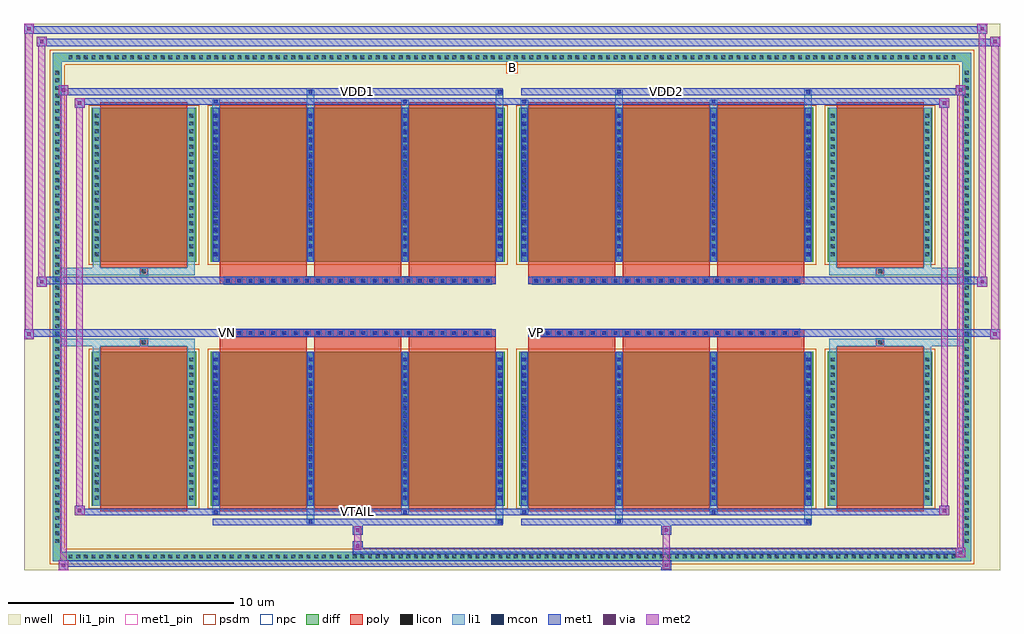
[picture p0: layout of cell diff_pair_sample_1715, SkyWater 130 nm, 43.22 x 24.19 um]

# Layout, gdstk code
import gdstk
lib = gdstk.Library(unit=1e-6, precision=5e-09)
def R(c, l, rs):  # rectangles x0, y0, x1, y1
    for r in rs: c.add(gdstk.rectangle(r[:2], r[2:], *l))
def A(c, l, x, y, w, h, nx, ny, dx, dy):  # array of equal rectangles
    R(c, l, [(x+i*dx, y+j*dy, x+i*dx+w, y+j*dy+h) for i in range(nx) for j in range(ny)])
def P(c, l, *ps):  # polygons
    for p in ps: c.add(gdstk.Polygon(p, *l))
nwell = (64, 20)
diff = (65, 20)
poly = (66, 20)
licon = (66, 44)
li1_pin = (67, 16)
li1 = (67, 20)
mcon = (67, 44)
met1_pin = (68, 16)
met1 = (68, 20)
via = (68, 44)
met2 = (69, 20)
psdm = (94, 20)
npc = (95, 20)

diff_pair_sample_1715 = lib.new_cell('diff_pair_sample_1715')
R(diff_pair_sample_1715, nwell, [(-21.61,-11.66,21.61,12.53), (-18.93,-9.85,-0.01,-0.795), (0.01,-9.85,18.93,-0.795), (-18.93,0.795,-0.01,9.85), (0.01,0.795,18.93,9.85)])
A(diff_pair_sample_1715, diff, -19.755, -11.26, 0.41, 0.41, 116, 2, 0.34, 22.11)
A(diff_pair_sample_1715, diff, -20.34, -10.575, 0.41, 0.41, 1, 62, 0, 0.34)
A(diff_pair_sample_1715, diff, 19.93, -10.575, 0.41, 0.41, 1, 62, 0, 0.34)
R(diff_pair_sample_1715, diff, [(-19.755,-11.26,19.755,-10.85), (-20.34,-10.575,-19.93,10.575), (19.93,-10.575,20.34,10.575), (-18.62,-8.805,-13.98,-1.985), (-13.34,-8.805,-0.32,-1.985), (0.32,-8.805,13.34,-1.985), (13.98,-8.805,18.62,-1.985), (-18.62,1.985,-13.98,8.805), (-13.34,1.985,-0.32,8.805), (0.32,1.985,13.34,8.805), (13.98,1.985,18.62,8.805), (-19.755,10.85,19.755,11.26)])
P(diff_pair_sample_1715, diff, [(20.34,11.26),(-20.34,11.26),(-20.34,-10.85),(-19.93,-10.85),(-19.93,10.85),(19.93,10.85),(19.93,-10.85),(-19.93,-10.85),(-20.34,-10.85),(-20.34,-11.26),(20.34,-11.26)])
A(diff_pair_sample_1715, poly, -12.95, -9.055, 3.86, 7.32, 3, 2, 4.19, 10.79)
A(diff_pair_sample_1715, poly, 0.71, -9.055, 3.86, 7.32, 3, 2, 4.19, 10.79)
A(diff_pair_sample_1715, poly, -12.95, -1.735, 3.86, 0.41, 3, 2, 4.19, 3.06)
A(diff_pair_sample_1715, poly, 0.71, -1.735, 3.86, 0.41, 3, 2, 4.19, 3.06)
A(diff_pair_sample_1715, poly, -12.745, -1.325, 0.33, 0.33, 24, 2, 0.5, 2.32)
A(diff_pair_sample_1715, poly, 0.915, -1.325, 0.33, 0.33, 24, 2, 0.5, 2.32)
R(diff_pair_sample_1715, poly, [(-18.23,-9.055,-14.37,-1.735), (14.37,-9.055,18.23,-1.735), (-16.465,-1.735,-16.135,-1.405), (-16.465,-1.735,-16.135,-1.405), (16.135,-1.735,16.465,-1.405), (16.135,-1.735,16.465,-1.405), (-12.95,-1.325,-0.71,-0.995), (0.71,-1.325,12.95,-0.995), (-12.95,0.995,-0.71,1.325), (0.71,0.995,12.95,1.325), (-16.465,1.405,-16.135,1.735), (-16.465,1.405,-16.135,1.735), (16.135,1.405,16.465,1.735), (16.135,1.405,16.465,1.735), (-18.23,1.735,-14.37,9.055), (14.37,1.735,18.23,9.055)])
A(diff_pair_sample_1715, licon, -19.635, -11.14, 0.17, 0.17, 116, 2, 0.34, 22.11)
A(diff_pair_sample_1715, licon, -20.22, -10.455, 0.17, 0.17, 1, 62, 0, 0.34)
A(diff_pair_sample_1715, licon, 20.05, -10.455, 0.17, 0.17, 1, 62, 0, 0.34)
A(diff_pair_sample_1715, licon, -18.48, -8.54, 0.17, 0.17, 1, 19, 0, 0.34)
A(diff_pair_sample_1715, licon, -14.29, -8.54, 0.17, 0.17, 1, 19, 0, 0.34)
A(diff_pair_sample_1715, licon, -13.2, -8.54, 0.17, 0.17, 4, 19, 4.19, 0.34)
A(diff_pair_sample_1715, licon, 0.46, -8.54, 0.17, 0.17, 4, 19, 4.19, 0.34)
A(diff_pair_sample_1715, licon, 14.12, -8.54, 0.17, 0.17, 1, 19, 0, 0.34)
A(diff_pair_sample_1715, licon, 18.31, -8.54, 0.17, 0.17, 1, 19, 0, 0.34)
A(diff_pair_sample_1715, licon, -12.665, -1.245, 0.17, 0.17, 24, 2, 0.5, 2.32)
A(diff_pair_sample_1715, licon, 0.995, -1.245, 0.17, 0.17, 24, 2, 0.5, 2.32)
A(diff_pair_sample_1715, licon, -18.48, 2.25, 0.17, 0.17, 1, 19, 0, 0.34)
A(diff_pair_sample_1715, licon, -14.29, 2.25, 0.17, 0.17, 1, 19, 0, 0.34)
A(diff_pair_sample_1715, licon, -13.2, 2.25, 0.17, 0.17, 4, 19, 4.19, 0.34)
A(diff_pair_sample_1715, licon, 0.46, 2.25, 0.17, 0.17, 4, 19, 4.19, 0.34)
A(diff_pair_sample_1715, licon, 14.12, 2.25, 0.17, 0.17, 1, 19, 0, 0.34)
A(diff_pair_sample_1715, licon, 18.31, 2.25, 0.17, 0.17, 1, 19, 0, 0.34)
R(diff_pair_sample_1715, licon, [(-16.385,-1.655,-16.215,-1.485), (16.215,-1.655,16.385,-1.485), (-16.385,1.485,-16.215,1.655), (16.215,1.485,16.385,1.655)])
R(diff_pair_sample_1715, li1_pin, [(-0.25,10.35,0.25,10.85)])
A(diff_pair_sample_1715, li1, -19.715, -11.22, 0.33, 0.33, 116, 2, 0.34, 22.11)
A(diff_pair_sample_1715, li1, -20.3, -10.535, 0.33, 0.33, 1, 62, 0, 0.34)
A(diff_pair_sample_1715, li1, 19.97, -10.535, 0.33, 0.33, 1, 62, 0, 0.34)
A(diff_pair_sample_1715, li1, -13.28, -8.805, 0.33, 6.82, 4, 2, 4.19, 10.79)
A(diff_pair_sample_1715, li1, 0.38, -8.805, 0.33, 6.82, 4, 2, 4.19, 10.79)
A(diff_pair_sample_1715, li1, -18.56, -8.62, 0.33, 0.33, 1, 19, 0, 0.34)
A(diff_pair_sample_1715, li1, -14.37, -8.62, 0.33, 0.33, 1, 19, 0, 0.34)
A(diff_pair_sample_1715, li1, -13.28, -8.62, 0.33, 0.33, 4, 19, 4.19, 0.34)
A(diff_pair_sample_1715, li1, 0.38, -8.62, 0.33, 0.33, 4, 19, 4.19, 0.34)
A(diff_pair_sample_1715, li1, 14.04, -8.62, 0.33, 0.33, 1, 19, 0, 0.34)
A(diff_pair_sample_1715, li1, 18.23, -8.62, 0.33, 0.33, 1, 19, 0, 0.34)
A(diff_pair_sample_1715, li1, -13.2, -8.54, 0.17, 0.17, 4, 18, 4.19, 0.36)
A(diff_pair_sample_1715, li1, -13.2, -8.54, 0.17, 6.29, 4, 2, 4.19, 10.79)
A(diff_pair_sample_1715, li1, 0.46, -8.54, 0.17, 0.17, 4, 18, 4.19, 0.36)
A(diff_pair_sample_1715, li1, 0.46, -8.54, 0.17, 6.29, 4, 2, 4.19, 10.79)
A(diff_pair_sample_1715, li1, -12.745, -1.325, 0.33, 0.33, 24, 2, 0.5, 2.32)
A(diff_pair_sample_1715, li1, 0.915, -1.325, 0.33, 0.33, 24, 2, 0.5, 2.32)
A(diff_pair_sample_1715, li1, -18.56, 2.17, 0.33, 0.33, 1, 19, 0, 0.34)
A(diff_pair_sample_1715, li1, -14.37, 2.17, 0.33, 0.33, 1, 19, 0, 0.34)
A(diff_pair_sample_1715, li1, -13.28, 2.17, 0.33, 0.33, 4, 19, 4.19, 0.34)
A(diff_pair_sample_1715, li1, 0.38, 2.17, 0.33, 0.33, 4, 19, 4.19, 0.34)
A(diff_pair_sample_1715, li1, 14.04, 2.17, 0.33, 0.33, 1, 19, 0, 0.34)
A(diff_pair_sample_1715, li1, 18.23, 2.17, 0.33, 0.33, 1, 19, 0, 0.34)
A(diff_pair_sample_1715, li1, -13.2, 2.25, 0.17, 0.17, 4, 18, 4.19, 0.36)
A(diff_pair_sample_1715, li1, 0.46, 2.25, 0.17, 0.17, 4, 18, 4.19, 0.36)
R(diff_pair_sample_1715, li1, [(-20.34,-11.26,-19.93,-10.85), (-20.34,-11.26,-19.93,-10.85), (-19.93,-11.26,19.93,-10.85), (19.93,-11.26,20.34,-10.85), (19.93,-11.26,20.34,-10.85), (-20.34,-10.85,-19.93,10.85), (19.93,-10.85,20.34,10.85), (-9.09,-9.61,-8.76,-8.805), (-9.01,-9.61,-8.84,-9.44), (-0.71,-9.61,-0.38,-8.805), (-0.63,-9.61,-0.46,-9.44), (4.57,-9.61,4.9,-8.805), (4.65,-9.61,4.82,-9.44), (12.95,-9.61,13.28,-8.805), (13.03,-9.61,13.2,-9.44), (-13.28,-9.18,-12.95,-8.805), (-13.2,-9.18,-13.03,-9.01), (-4.9,-9.18,-4.57,-8.805), (-4.82,-9.18,-4.65,-9.01), (0.38,-9.18,0.71,-8.805), (0.46,-9.18,0.63,-9.01), (8.76,-9.18,9.09,-8.805), (8.84,-9.18,9.01,-9.01), (-18.56,-8.805,-18.23,-1.985), (-14.37,-8.805,-14.04,-1.985), (14.04,-8.805,14.37,-1.985), (18.23,-8.805,18.56,-1.985), (-18.56,-1.985,-18.23,-1.405), (-14.37,-1.985,-14.04,-1.405), (14.04,-1.985,14.37,-1.405), (18.23,-1.985,18.56,-1.405), (-20.34,-1.735,-16.465,-1.405), (-18.56,-1.735,-16.465,-1.405), (-16.465,-1.735,-16.135,-1.405), (-16.135,-1.735,-14.04,-1.405), (14.04,-1.735,16.135,-1.405), (16.135,-1.735,16.465,-1.405), (16.135,-1.735,20.34,-1.405), (16.465,-1.735,18.56,-1.405), (-20.34,1.405,-16.465,1.735), (-18.56,1.405,-16.465,1.735), (-18.56,1.405,-18.23,1.985), (-16.465,1.405,-16.135,1.735), (-16.135,1.405,-14.04,1.735), (-14.37,1.405,-14.04,1.985), (14.04,1.405,16.135,1.735), (14.04,1.405,14.37,1.985), (16.135,1.405,16.465,1.735), (16.135,1.405,20.34,1.735), (16.465,1.405,18.56,1.735), (18.23,1.405,18.56,1.985), (-18.56,1.985,-18.23,8.805), (-14.37,1.985,-14.04,8.805), (14.04,1.985,14.37,8.805), (18.23,1.985,18.56,8.805), (-13.28,8.805,-12.95,9.18), (-9.09,8.805,-8.76,9.61), (-4.9,8.805,-4.57,9.18), (-0.71,8.805,-0.38,9.61), (0.38,8.805,0.71,9.18), (4.57,8.805,4.9,9.61), (8.76,8.805,9.09,9.18), (12.95,8.805,13.28,9.61), (-13.2,9.01,-13.03,9.18), (-4.82,9.01,-4.65,9.18), (0.46,9.01,0.63,9.18), (8.84,9.01,9.01,9.18), (-9.01,9.44,-8.84,9.61), (-0.63,9.44,-0.46,9.61), (4.65,9.44,4.82,9.61), (13.03,9.44,13.2,9.61), (-20.34,10.85,-19.93,11.26), (-20.34,10.85,-19.93,11.26), (-19.93,10.85,19.93,11.26), (19.93,10.85,20.34,11.26), (19.93,10.85,20.34,11.26)])
A(diff_pair_sample_1715, mcon, -13.2, -8.54, 0.17, 0.17, 4, 18, 4.19, 0.36)
A(diff_pair_sample_1715, mcon, 0.46, -8.54, 0.17, 0.17, 4, 18, 4.19, 0.36)
A(diff_pair_sample_1715, mcon, -12.665, -1.245, 0.17, 0.17, 24, 2, 0.5, 2.32)
A(diff_pair_sample_1715, mcon, 0.995, -1.245, 0.17, 0.17, 24, 2, 0.5, 2.32)
A(diff_pair_sample_1715, mcon, -13.2, 2.25, 0.17, 0.17, 4, 18, 4.19, 0.36)
A(diff_pair_sample_1715, mcon, 0.46, 2.25, 0.17, 0.17, 4, 18, 4.19, 0.36)
R(diff_pair_sample_1715, mcon, [(-9.01,-9.61,-8.84,-9.44), (-0.63,-9.61,-0.46,-9.44), (4.65,-9.61,4.82,-9.44), (13.03,-9.61,13.2,-9.44), (-13.2,-9.18,-13.03,-9.01), (-4.82,-9.18,-4.65,-9.01), (0.46,-9.18,0.63,-9.01), (8.84,-9.18,9.01,-9.01), (-13.2,9.01,-13.03,9.18), (-4.82,9.01,-4.65,9.18), (0.46,9.01,0.63,9.18), (8.84,9.01,9.01,9.18), (-9.01,9.44,-8.84,9.61), (-0.63,9.44,-0.46,9.61), (4.65,9.44,4.82,9.61), (13.03,9.44,13.2,9.61)])
R(diff_pair_sample_1715, met1_pin, [(-6.965,-9.22,-6.695,-8.95), (-12.715,-1.285,-12.445,-1.015), (0.945,-1.285,1.215,-1.015), (-6.965,9.4,-6.695,9.67), (6.695,9.4,6.965,9.67)])
A(diff_pair_sample_1715, met1, -13.26, -8.805, 0.29, 6.82, 4, 2, 4.19, 10.79)
A(diff_pair_sample_1715, met1, 0.4, -8.805, 0.29, 6.82, 4, 2, 4.19, 10.79)
A(diff_pair_sample_1715, met1, -13.26, -8.6, 0.29, 0.29, 4, 18, 4.19, 0.36)
A(diff_pair_sample_1715, met1, 0.4, -8.6, 0.29, 0.29, 4, 18, 4.19, 0.36)
A(diff_pair_sample_1715, met1, -12.725, -1.305, 0.29, 0.29, 24, 2, 0.5, 2.32)
A(diff_pair_sample_1715, met1, 0.935, -1.305, 0.29, 0.29, 24, 2, 0.5, 2.32)
A(diff_pair_sample_1715, met1, -13.26, 2.19, 0.29, 0.29, 4, 18, 4.19, 0.36)
A(diff_pair_sample_1715, met1, 0.4, 2.19, 0.29, 0.29, 4, 18, 4.19, 0.36)
R(diff_pair_sample_1715, met1, [(-20.07,-11.66,-19.64,-11.23), (6.615,-11.66,7.045,-11.23), (-20.07,-11.52,7.045,-11.23), (19.64,-11.09,20.07,-10.66), (-7.045,-10.95,20.07,-10.66), (-7.045,-10.81,-6.615,-10.38), (-7.045,-10.1,-6.615,-9.67), (6.615,-10.1,7.045,-9.67), (-13.26,-9.67,-0.4,-9.38), (-9.07,-9.67,-8.78,-9.38), (-0.69,-9.67,-0.4,-9.38), (0.4,-9.67,13.26,-9.38), (4.59,-9.67,4.88,-9.38), (12.97,-9.67,13.26,-9.38), (-19.36,-9.24,-18.93,-8.81), (-19.36,-9.24,-13.26,-8.95), (-13.26,-9.24,-12.97,-8.95), (-13.26,-9.24,-0.4,-8.95), (-4.88,-9.24,-4.59,-8.95), (-0.4,-9.24,0.4,-8.95), (0.4,-9.24,0.69,-8.95), (0.4,-9.24,13.26,-8.95), (8.78,-9.24,9.07,-8.95), (13.26,-9.24,19.36,-8.95), (18.93,-9.24,19.36,-8.81), (-21.61,-1.425,-21.18,-0.995), (21.18,-1.425,21.61,-0.995), (-21.61,-1.325,-0.71,-0.995), (-12.95,-1.325,-0.71,-0.995), (0.71,-1.325,12.95,-0.995), (0.71,-1.325,21.61,-0.995), (-21.04,0.895,-20.61,1.325), (20.61,0.895,21.04,1.325), (-21.04,0.995,-12.95,1.325), (-12.95,0.995,-0.71,1.325), (0.71,0.995,12.95,1.325), (12.95,0.995,21.04,1.325), (-19.36,8.81,-18.93,9.24), (18.93,8.81,19.36,9.24), (-19.36,8.95,-13.26,9.24), (-13.26,8.95,-12.97,9.24), (-13.26,8.95,-0.4,9.24), (-4.88,8.95,-4.59,9.24), (-0.4,8.95,0.4,9.24), (0.4,8.95,0.69,9.24), (0.4,8.95,13.26,9.24), (8.78,8.95,9.07,9.24), (13.26,8.95,19.36,9.24), (-20.07,9.38,-19.64,9.81), (-20.07,9.38,-13.26,9.67), (-13.26,9.38,-0.4,9.67), (-9.07,9.38,-8.78,9.67), (-0.69,9.38,-0.4,9.67), (0.4,9.38,13.26,9.67), (4.59,9.38,4.88,9.67), (12.97,9.38,13.26,9.67), (13.26,9.38,20.07,9.67), (19.64,9.38,20.07,9.81), (-21.04,11.53,-20.61,11.96), (-21.04,11.53,-18.93,11.86), (-18.93,11.53,18.93,11.86), (18.93,11.53,21.61,11.86), (21.18,11.53,21.61,11.96), (-21.61,12.1,-21.18,12.53), (-21.61,12.1,-18.93,12.43), (-18.93,12.1,18.93,12.43), (18.93,12.1,21.04,12.43), (20.61,12.1,21.04,12.53)])
R(diff_pair_sample_1715, via, [(-19.93,-11.52,-19.78,-11.37), (6.755,-11.52,6.905,-11.37), (19.78,-10.95,19.93,-10.8), (-6.905,-10.67,-6.755,-10.52), (-6.905,-9.96,-6.755,-9.81), (6.755,-9.96,6.905,-9.81), (-19.22,-9.1,-19.07,-8.95), (19.07,-9.1,19.22,-8.95), (-21.47,-1.285,-21.32,-1.135), (21.32,-1.285,21.47,-1.135), (-20.9,1.035,-20.75,1.185), (20.75,1.035,20.9,1.185), (-19.22,8.95,-19.07,9.1), (19.07,8.95,19.22,9.1), (-19.93,9.52,-19.78,9.67), (19.78,9.52,19.93,9.67), (-20.9,11.67,-20.75,11.82), (21.32,11.67,21.47,11.82), (-21.47,12.24,-21.32,12.39), (20.75,12.24,20.9,12.39)])
R(diff_pair_sample_1715, met2, [(-20.07,-11.66,-19.64,-11.23), (-20,-11.66,-19.71,9.81), (-19.71,-11.66,-19.64,-11.23), (-20.02,-11.61,-19.69,-11.28), (6.665,-11.61,6.995,-11.28), (6.665,-11.28,6.995,-10.05), (19.64,-11.09,20.07,-10.66), (19.71,-11.09,20,9.81), (20,-11.09,20.07,-10.66), (19.69,-11.04,20.02,-10.71), (-6.995,-10.76,-6.665,-10.43), (-6.995,-10.43,-6.665,-10.05), (-6.995,-10.05,-6.665,-9.72), (6.665,-10.05,6.995,-9.72), (-19.36,-9.24,-18.93,-8.81), (-19.29,-9.24,-19,9.24), (-19,-9.24,-18.93,-8.81), (18.93,-9.24,19.36,-8.81), (19,-9.24,19.29,9.24), (19.29,-9.24,19.36,-8.81), (-19.31,-9.19,-18.98,-8.86), (18.98,-9.19,19.31,-8.86), (-21.61,-1.425,-21.18,-0.995), (-21.56,-1.425,-21.23,12.53), (-21.23,-1.425,-21.18,-0.995), (21.18,-1.425,21.61,-0.995), (21.23,-1.425,21.56,11.96), (21.56,-1.425,21.61,-0.995), (-21.56,-1.375,-21.23,-1.045), (21.23,-1.375,21.56,-1.045), (-21.04,0.895,-20.61,1.325), (-20.99,0.895,-20.66,11.96), (-20.66,0.895,-20.61,1.325), (20.61,0.895,21.04,1.325), (20.66,0.895,20.99,12.53), (20.99,0.895,21.04,1.325), (-20.99,0.945,-20.66,1.275), (20.66,0.945,20.99,1.275), (-19.36,8.81,-18.93,9.24), (-19,8.81,-18.93,9.24), (18.93,8.81,19.36,9.24), (19.29,8.81,19.36,9.24), (-19.31,8.86,-18.98,9.19), (18.98,8.86,19.31,9.19), (-20.07,9.38,-19.64,9.81), (-19.71,9.38,-19.64,9.81), (19.64,9.38,20.07,9.81), (20,9.38,20.07,9.81), (-20.02,9.43,-19.69,9.76), (19.69,9.43,20.02,9.76), (-21.04,11.53,-20.61,11.96), (-20.66,11.53,-20.61,11.96), (21.18,11.53,21.61,11.96), (21.56,11.53,21.61,11.96), (-20.99,11.58,-20.66,11.91), (21.23,11.58,21.56,11.91), (-21.61,12.1,-21.18,12.53), (-21.23,12.1,-21.18,12.53), (20.61,12.1,21.04,12.53), (20.99,12.1,21.04,12.53), (-21.56,12.15,-21.23,12.48), (20.66,12.15,20.99,12.48)])
R(diff_pair_sample_1715, psdm, [(-18.75,-8.935,-13.85,-1.855), (-13.47,-8.935,-0.19,-1.855), (0.19,-8.935,13.47,-1.855), (13.85,-8.935,18.75,-1.855), (-18.75,1.855,-13.85,8.935), (-13.47,1.855,-0.19,8.935), (0.19,1.855,13.47,8.935), (13.85,1.855,18.75,8.935)])
P(diff_pair_sample_1715, psdm, [(20.47,11.39),(-20.47,11.39),(-20.47,-10.72),(-19.8,-10.72),(-19.8,10.72),(19.8,10.72),(19.8,-10.72),(-19.8,-10.72),(-20.47,-10.72),(-20.47,-11.39),(20.47,-11.39)])
A(diff_pair_sample_1715, npc, -12.765, -1.345, 0.37, 0.37, 24, 2, 0.5, 2.32)
A(diff_pair_sample_1715, npc, 0.895, -1.345, 0.37, 0.37, 24, 2, 0.5, 2.32)
R(diff_pair_sample_1715, npc, [(-16.485,-1.755,-16.115,-1.385), (16.115,-1.755,16.485,-1.385), (-12.765,-1.345,-11.895,-0.975), (-12.765,-1.345,-11.895,-0.975), (-12.265,-1.345,-11.395,-0.975), (-12.265,-1.345,-11.395,-0.975), (-11.765,-1.345,-10.895,-0.975), (-11.765,-1.345,-10.895,-0.975), (-11.265,-1.345,-10.395,-0.975), (-11.265,-1.345,-10.395,-0.975), (-10.765,-1.345,-9.895,-0.975), (-10.765,-1.345,-9.895,-0.975), (-10.265,-1.345,-9.395,-0.975), (-10.265,-1.345,-9.395,-0.975), (-9.765,-1.345,-8.895,-0.975), (-9.765,-1.345,-8.895,-0.975), (-9.265,-1.345,-8.395,-0.975), (-9.265,-1.345,-8.395,-0.975), (-8.765,-1.345,-7.895,-0.975), (-8.765,-1.345,-7.895,-0.975), (-8.265,-1.345,-7.395,-0.975), (-8.265,-1.345,-7.395,-0.975), (-7.765,-1.345,-6.895,-0.975), (-7.765,-1.345,-6.895,-0.975), (-7.265,-1.345,-6.395,-0.975), (-7.265,-1.345,-6.395,-0.975), (-6.765,-1.345,-5.895,-0.975), (-6.765,-1.345,-5.895,-0.975), (-6.265,-1.345,-5.395,-0.975), (-6.265,-1.345,-5.395,-0.975), (-5.765,-1.345,-4.895,-0.975), (-5.765,-1.345,-4.895,-0.975), (-5.265,-1.345,-4.395,-0.975), (-5.265,-1.345,-4.395,-0.975), (-4.765,-1.345,-3.895,-0.975), (-4.765,-1.345,-3.895,-0.975), (-4.265,-1.345,-3.395,-0.975), (-4.265,-1.345,-3.395,-0.975), (-3.765,-1.345,-2.895,-0.975), (-3.765,-1.345,-2.895,-0.975), (-3.265,-1.345,-2.395,-0.975), (-3.265,-1.345,-2.395,-0.975), (-2.765,-1.345,-1.895,-0.975), (-2.765,-1.345,-1.895,-0.975), (-2.265,-1.345,-1.395,-0.975), (-2.265,-1.345,-1.395,-0.975), (-1.765,-1.345,-0.895,-0.975), (-1.765,-1.345,-0.895,-0.975), (0.895,-1.345,1.765,-0.975), (0.895,-1.345,1.765,-0.975), (1.395,-1.345,2.265,-0.975), (1.395,-1.345,2.265,-0.975), (1.895,-1.345,2.765,-0.975), (1.895,-1.345,2.765,-0.975), (2.395,-1.345,3.265,-0.975), (2.395,-1.345,3.265,-0.975), (2.895,-1.345,3.765,-0.975), (2.895,-1.345,3.765,-0.975), (3.395,-1.345,4.265,-0.975), (3.395,-1.345,4.265,-0.975), (3.895,-1.345,4.765,-0.975), (3.895,-1.345,4.765,-0.975), (4.395,-1.345,5.265,-0.975), (4.395,-1.345,5.265,-0.975), (4.895,-1.345,5.765,-0.975), (4.895,-1.345,5.765,-0.975), (5.395,-1.345,6.265,-0.975), (5.395,-1.345,6.265,-0.975), (5.895,-1.345,6.765,-0.975), (5.895,-1.345,6.765,-0.975), (6.395,-1.345,7.265,-0.975), (6.395,-1.345,7.265,-0.975), (6.895,-1.345,7.765,-0.975), (6.895,-1.345,7.765,-0.975), (7.395,-1.345,8.265,-0.975), (7.395,-1.345,8.265,-0.975), (7.895,-1.345,8.765,-0.975), (7.895,-1.345,8.765,-0.975), (8.395,-1.345,9.265,-0.975), (8.395,-1.345,9.265,-0.975), (8.895,-1.345,9.765,-0.975), (8.895,-1.345,9.765,-0.975), (9.395,-1.345,10.265,-0.975), (9.395,-1.345,10.265,-0.975), (9.895,-1.345,10.765,-0.975), (9.895,-1.345,10.765,-0.975), (10.395,-1.345,11.265,-0.975), (10.395,-1.345,11.265,-0.975), (10.895,-1.345,11.765,-0.975), (10.895,-1.345,11.765,-0.975), (11.395,-1.345,12.265,-0.975), (11.395,-1.345,12.265,-0.975), (11.895,-1.345,12.765,-0.975), (11.895,-1.345,12.765,-0.975), (-12.765,0.975,-11.895,1.345), (-12.765,0.975,-11.895,1.345), (-12.265,0.975,-11.395,1.345), (-12.265,0.975,-11.395,1.345), (-11.765,0.975,-10.895,1.345), (-11.765,0.975,-10.895,1.345), (-11.265,0.975,-10.395,1.345), (-11.265,0.975,-10.395,1.345), (-10.765,0.975,-9.895,1.345), (-10.765,0.975,-9.895,1.345), (-10.265,0.975,-9.395,1.345), (-10.265,0.975,-9.395,1.345), (-9.765,0.975,-8.895,1.345), (-9.765,0.975,-8.895,1.345), (-9.265,0.975,-8.395,1.345), (-9.265,0.975,-8.395,1.345), (-8.765,0.975,-7.895,1.345), (-8.765,0.975,-7.895,1.345), (-8.265,0.975,-7.395,1.345), (-8.265,0.975,-7.395,1.345), (-7.765,0.975,-6.895,1.345), (-7.765,0.975,-6.895,1.345), (-7.265,0.975,-6.395,1.345), (-7.265,0.975,-6.395,1.345), (-6.765,0.975,-5.895,1.345), (-6.765,0.975,-5.895,1.345), (-6.265,0.975,-5.395,1.345), (-6.265,0.975,-5.395,1.345), (-5.765,0.975,-4.895,1.345), (-5.765,0.975,-4.895,1.345), (-5.265,0.975,-4.395,1.345), (-5.265,0.975,-4.395,1.345), (-4.765,0.975,-3.895,1.345), (-4.765,0.975,-3.895,1.345), (-4.265,0.975,-3.395,1.345), (-4.265,0.975,-3.395,1.345), (-3.765,0.975,-2.895,1.345), (-3.765,0.975,-2.895,1.345), (-3.265,0.975,-2.395,1.345), (-3.265,0.975,-2.395,1.345), (-2.765,0.975,-1.895,1.345), (-2.765,0.975,-1.895,1.345), (-2.265,0.975,-1.395,1.345), (-2.265,0.975,-1.395,1.345), (-1.765,0.975,-0.895,1.345), (-1.765,0.975,-0.895,1.345), (0.895,0.975,1.765,1.345), (0.895,0.975,1.765,1.345), (1.395,0.975,2.265,1.345), (1.395,0.975,2.265,1.345), (1.895,0.975,2.765,1.345), (1.895,0.975,2.765,1.345), (2.395,0.975,3.265,1.345), (2.395,0.975,3.265,1.345), (2.895,0.975,3.765,1.345), (2.895,0.975,3.765,1.345), (3.395,0.975,4.265,1.345), (3.395,0.975,4.265,1.345), (3.895,0.975,4.765,1.345), (3.895,0.975,4.765,1.345), (4.395,0.975,5.265,1.345), (4.395,0.975,5.265,1.345), (4.895,0.975,5.765,1.345), (4.895,0.975,5.765,1.345), (5.395,0.975,6.265,1.345), (5.395,0.975,6.265,1.345), (5.895,0.975,6.765,1.345), (5.895,0.975,6.765,1.345), (6.395,0.975,7.265,1.345), (6.395,0.975,7.265,1.345), (6.895,0.975,7.765,1.345), (6.895,0.975,7.765,1.345), (7.395,0.975,8.265,1.345), (7.395,0.975,8.265,1.345), (7.895,0.975,8.765,1.345), (7.895,0.975,8.765,1.345), (8.395,0.975,9.265,1.345), (8.395,0.975,9.265,1.345), (8.895,0.975,9.765,1.345), (8.895,0.975,9.765,1.345), (9.395,0.975,10.265,1.345), (9.395,0.975,10.265,1.345), (9.895,0.975,10.765,1.345), (9.895,0.975,10.765,1.345), (10.395,0.975,11.265,1.345), (10.395,0.975,11.265,1.345), (10.895,0.975,11.765,1.345), (10.895,0.975,11.765,1.345), (11.395,0.975,12.265,1.345), (11.395,0.975,12.265,1.345), (11.895,0.975,12.765,1.345), (11.895,0.975,12.765,1.345), (-16.485,1.385,-16.115,1.755), (16.115,1.385,16.485,1.755)])
diff_pair_sample_1715.add(gdstk.Label('VTAIL', (-6.83,-9.085), layer=68, texttype=5))
diff_pair_sample_1715.add(gdstk.Label('VN', (-12.58,-1.15), layer=68, texttype=5))
diff_pair_sample_1715.add(gdstk.Label('VP', (1.08,-1.15), layer=68, texttype=5))
diff_pair_sample_1715.add(gdstk.Label('B', (0,10.6), layer=67, texttype=5))
diff_pair_sample_1715.add(gdstk.Label('VDD2', (6.83,9.535), layer=68, texttype=5))
diff_pair_sample_1715.add(gdstk.Label('VDD1', (-6.83,9.535), layer=68, texttype=5))

lib.write_gds('diff_pair_sample_1715.gds')
